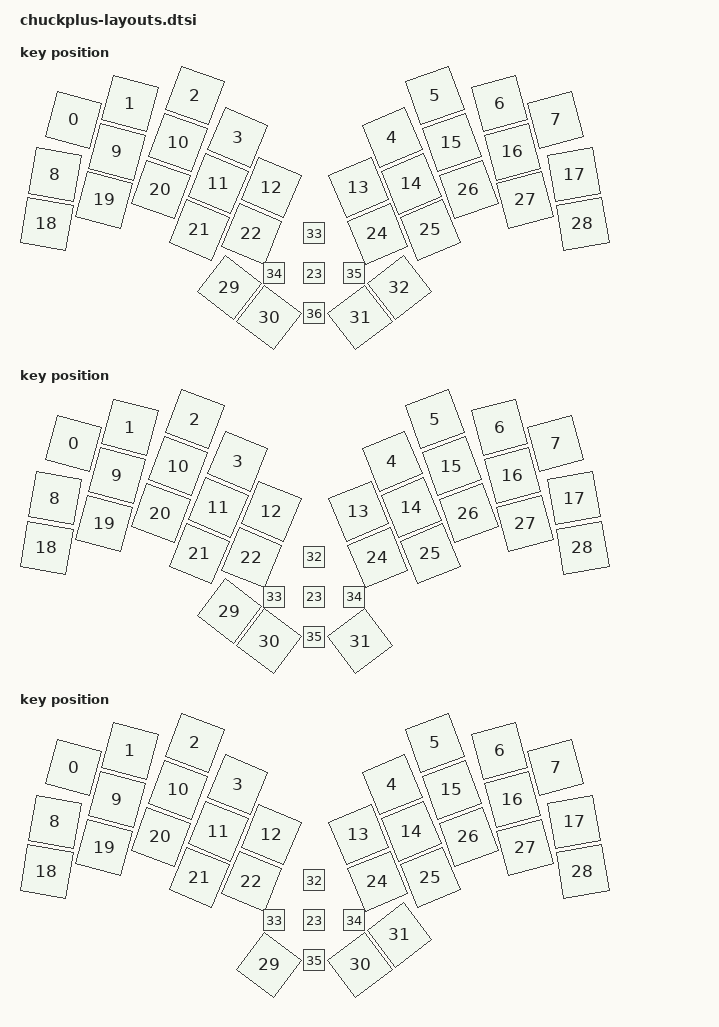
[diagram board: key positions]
#include <physical_layouts.dtsi>

/ {
    chuckplus_layout22: chuckplus_layout_22 {
        compatible = "zmk,physical-layout";
        display-name = "Chuck Plus";

        transform = <&chuckplus_transform_22>;

        keys  //                     w   h    x    y     rot    rx    ry
            = <&key_physical_attrs 100 100   54   49    1500   104    99> // Q
            , <&key_physical_attrs 100 100  167   16    1500   217    66> // W
            , <&key_physical_attrs 100 100  297    0    2000   347    50> // F
            , <&key_physical_attrs 100 100  382   84    2250   432   134> // P
            , <&key_physical_attrs 100 100  691   84 (-2250)   741   134> // L
            , <&key_physical_attrs 100 100  776    0 (-2000)   826    50> // U
            , <&key_physical_attrs 100 100  906   16 (-1500)   956    66> // Y
            , <&key_physical_attrs 100 100 1018   49 (-1500)  1068    99> // '
            , <&key_physical_attrs 100 100   17  158    1000    67   208> // A
            , <&key_physical_attrs 100 100  141  113    1500   191   163> // R
            , <&key_physical_attrs 100 100  263   94    2000   313   144> // S
            , <&key_physical_attrs 100 100  343  177    2250   394   227> // T
            , <&key_physical_attrs 100 100  449  184    2250   499   234> // G
            , <&key_physical_attrs 100 100  624  184 (-2250)   674   234> // M
            , <&key_physical_attrs 100 100  729  177 (-2250)   779   227> // N
            , <&key_physical_attrs 100 100  810   94 (-2000)   860   144> // E
            , <&key_physical_attrs 100 100  932  113 (-1500)   982   163> // I
            , <&key_physical_attrs 100 100 1055  158 (-1000)  1105   208> // O
            , <&key_physical_attrs 100 100    0  257    1000    50   307> // Z
            , <&key_physical_attrs 100 100  115  209    1500   165   259> // X
            , <&key_physical_attrs 100 100  228  188    2000   278   238> // C
            , <&key_physical_attrs 100 100  305  269    2250   355   319> // D
            , <&key_physical_attrs 100 100  410  277    2250   460   327> // V
            , <&key_physical_attrs  50  50  560  380       0     0     0> // push
            , <&key_physical_attrs 100 100  662  277 (-2250)   712   327> // K
            , <&key_physical_attrs 100 100  767  269 (-2250)   817   319> // H
            , <&key_physical_attrs 100 100  844  188 (-2000)   894   238> // ,
            , <&key_physical_attrs 100 100  957  209 (-1500)  1007   259> // .
            , <&key_physical_attrs 100 100 1072  257 (-1000)  1122   307> // /
            , <&key_physical_attrs 100 100  366  384    3750   416   434> // -
            , <&key_physical_attrs 100 100  445  444    3750   495   494> // shift
            , <&key_physical_attrs 100 100  627  444 (-3750)   677   494> // space
            , <&key_physical_attrs 100 100  706  384 (-3750)   756   434> // *
            , <&key_physical_attrs  50  50  560  300       0     0     0> // up
            , <&key_physical_attrs  50  50  480  380       0     0     0> // left
            , <&key_physical_attrs  50  50  640  380       0     0     0> // right
            , <&key_physical_attrs  50  50  560  460       0     0     0> // down
            ;
    };

    chuckplus_layout21: chuckplus_layout_21 {
        compatible = "zmk,physical-layout";
        display-name = "21 Chuck Street";

        transform = <&chuckplus_transform_21>;

        keys  //                     w   h    x    y     rot    rx    ry
            = <&key_physical_attrs 100 100   54   49    1500   104    99> // Q
            , <&key_physical_attrs 100 100  167   16    1500   217    66> // W
            , <&key_physical_attrs 100 100  297    0    2000   347    50> // F
            , <&key_physical_attrs 100 100  382   84    2250   432   134> // P
            , <&key_physical_attrs 100 100  691   84 (-2250)   741   134> // L
            , <&key_physical_attrs 100 100  776    0 (-2000)   826    50> // U
            , <&key_physical_attrs 100 100  906   16 (-1500)   956    66> // Y
            , <&key_physical_attrs 100 100 1018   49 (-1500)  1068    99> // '
            , <&key_physical_attrs 100 100   17  158    1000    67   208> // A
            , <&key_physical_attrs 100 100  141  113    1500   191   163> // R
            , <&key_physical_attrs 100 100  263   94    2000   313   144> // S
            , <&key_physical_attrs 100 100  343  177    2250   394   227> // T
            , <&key_physical_attrs 100 100  449  184    2250   499   234> // G
            , <&key_physical_attrs 100 100  624  184 (-2250)   674   234> // M
            , <&key_physical_attrs 100 100  729  177 (-2250)   779   227> // N
            , <&key_physical_attrs 100 100  810   94 (-2000)   860   144> // E
            , <&key_physical_attrs 100 100  932  113 (-1500)   982   163> // I
            , <&key_physical_attrs 100 100 1055  158 (-1000)  1105   208> // O
            , <&key_physical_attrs 100 100    0  257    1000    50   307> // Z
            , <&key_physical_attrs 100 100  115  209    1500   165   259> // X
            , <&key_physical_attrs 100 100  228  188    2000   278   238> // C
            , <&key_physical_attrs 100 100  305  269    2250   355   319> // D
            , <&key_physical_attrs 100 100  410  277    2250   460   327> // V
            , <&key_physical_attrs  50  50  560  380       0     0     0> // push
            , <&key_physical_attrs 100 100  662  277 (-2250)   712   327> // K
            , <&key_physical_attrs 100 100  767  269 (-2250)   817   319> // H
            , <&key_physical_attrs 100 100  844  188 (-2000)   894   238> // ,
            , <&key_physical_attrs 100 100  957  209 (-1500)  1007   259> // .
            , <&key_physical_attrs 100 100 1072  257 (-1000)  1122   307> // /
            , <&key_physical_attrs 100 100  366  384    3750   416   434> // -
            , <&key_physical_attrs 100 100  445  444    3750   495   494> // shift
            , <&key_physical_attrs 100 100  627  444 (-3750)   677   494> // space
            , <&key_physical_attrs  50  50  560  300       0     0     0> // up
            , <&key_physical_attrs  50  50  480  380       0     0     0> // left
            , <&key_physical_attrs  50  50  640  380       0     0     0> // right
            , <&key_physical_attrs  50  50  560  460       0     0     0> // down
            ;
    };

    chuckplus_layout12: chuckplus_layout_12 {
        compatible = "zmk,physical-layout";
        display-name = "Chucker by the Dozen";

        transform = <&chuckplus_transform_12>;

        keys  //                     w   h    x    y     rot    rx    ry
            = <&key_physical_attrs 100 100   54   49    1500   104    99> // Q
            , <&key_physical_attrs 100 100  167   16    1500   217    66> // W
            , <&key_physical_attrs 100 100  297    0    2000   347    50> // F
            , <&key_physical_attrs 100 100  382   84    2250   432   134> // P
            , <&key_physical_attrs 100 100  691   84 (-2250)   741   134> // L
            , <&key_physical_attrs 100 100  776    0 (-2000)   826    50> // U
            , <&key_physical_attrs 100 100  906   16 (-1500)   956    66> // Y
            , <&key_physical_attrs 100 100 1018   49 (-1500)  1068    99> // '
            , <&key_physical_attrs 100 100   17  158    1000    67   208> // A
            , <&key_physical_attrs 100 100  141  113    1500   191   163> // R
            , <&key_physical_attrs 100 100  263   94    2000   313   144> // S
            , <&key_physical_attrs 100 100  343  177    2250   394   227> // T
            , <&key_physical_attrs 100 100  449  184    2250   499   234> // G
            , <&key_physical_attrs 100 100  624  184 (-2250)   674   234> // M
            , <&key_physical_attrs 100 100  729  177 (-2250)   779   227> // N
            , <&key_physical_attrs 100 100  810   94 (-2000)   860   144> // E
            , <&key_physical_attrs 100 100  932  113 (-1500)   982   163> // I
            , <&key_physical_attrs 100 100 1055  158 (-1000)  1105   208> // O
            , <&key_physical_attrs 100 100    0  257    1000    50   307> // Z
            , <&key_physical_attrs 100 100  115  209    1500   165   259> // X
            , <&key_physical_attrs 100 100  228  188    2000   278   238> // C
            , <&key_physical_attrs 100 100  305  269    2250   355   319> // D
            , <&key_physical_attrs 100 100  410  277    2250   460   327> // V
            , <&key_physical_attrs  50  50  560  380       0     0     0> // push
            , <&key_physical_attrs 100 100  662  277 (-2250)   712   327> // K
            , <&key_physical_attrs 100 100  767  269 (-2250)   817   319> // H
            , <&key_physical_attrs 100 100  844  188 (-2000)   894   238> // ,
            , <&key_physical_attrs 100 100  957  209 (-1500)  1007   259> // .
            , <&key_physical_attrs 100 100 1072  257 (-1000)  1122   307> // /
            , <&key_physical_attrs 100 100  445  444    3750   495   494> // shift
            , <&key_physical_attrs 100 100  627  444 (-3750)   677   494> // space
            , <&key_physical_attrs 100 100  706  384 (-3750)   756   434> // *
            , <&key_physical_attrs  50  50  560  300       0     0     0> // up
            , <&key_physical_attrs  50  50  480  380       0     0     0> // left
            , <&key_physical_attrs  50  50  640  380       0     0     0> // right
            , <&key_physical_attrs  50  50  560  460       0     0     0> // down
            ;
    };

    chuckplus_layout11: chuckplus_layout_11 {
        compatible = "zmk,physical-layout";
        display-name = "One Up Chuck";

        transform = <&chuckplus_transform_11>;

        keys  //                     w   h    x    y     rot    rx    ry
            = <&key_physical_attrs 100 100   54   49    1500   104    99> // Q
            , <&key_physical_attrs 100 100  167   16    1500   217    66> // W
            , <&key_physical_attrs 100 100  297    0    2000   347    50> // F
            , <&key_physical_attrs 100 100  382   84    2250   432   134> // P
            , <&key_physical_attrs 100 100  691   84 (-2250)   741   134> // L
            , <&key_physical_attrs 100 100  776    0 (-2000)   826    50> // U
            , <&key_physical_attrs 100 100  906   16 (-1500)   956    66> // Y
            , <&key_physical_attrs 100 100 1018   49 (-1500)  1068    99> // '
            , <&key_physical_attrs 100 100   17  158    1000    67   208> // A
            , <&key_physical_attrs 100 100  141  113    1500   191   163> // R
            , <&key_physical_attrs 100 100  263   94    2000   313   144> // S
            , <&key_physical_attrs 100 100  343  177    2250   394   227> // T
            , <&key_physical_attrs 100 100  449  184    2250   499   234> // G
            , <&key_physical_attrs 100 100  624  184 (-2250)   674   234> // M
            , <&key_physical_attrs 100 100  729  177 (-2250)   779   227> // N
            , <&key_physical_attrs 100 100  810   94 (-2000)   860   144> // E
            , <&key_physical_attrs 100 100  932  113 (-1500)   982   163> // I
            , <&key_physical_attrs 100 100 1055  158 (-1000)  1105   208> // O
            , <&key_physical_attrs 100 100    0  257    1000    50   307> // Z
            , <&key_physical_attrs 100 100  115  209    1500   165   259> // X
            , <&key_physical_attrs 100 100  228  188    2000   278   238> // C
            , <&key_physical_attrs 100 100  305  269    2250   355   319> // D
            , <&key_physical_attrs 100 100  410  277    2250   460   327> // V
            , <&key_physical_attrs  50  50  560  380       0     0     0> // push
            , <&key_physical_attrs 100 100  662  277 (-2250)   712   327> // K
            , <&key_physical_attrs 100 100  767  269 (-2250)   817   319> // H
            , <&key_physical_attrs 100 100  844  188 (-2000)   894   238> // ,
            , <&key_physical_attrs 100 100  957  209 (-1500)  1007   259> // .
            , <&key_physical_attrs 100 100 1072  257 (-1000)  1122   307> // /
            , <&key_physical_attrs 100 100  445  444    3750   495   494> // shift
            , <&key_physical_attrs 100 100  627  444 (-3750)   677   494> // space
            , <&key_physical_attrs  50  50  560  300       0     0     0> // up
            , <&key_physical_attrs  50  50  480  380       0     0     0> // left
            , <&key_physical_attrs  50  50  640  380       0     0     0> // right
            , <&key_physical_attrs  50  50  560  460       0     0     0> // down
            ;
    };

    chuckplus_position_map {
        compatible = "zmk,physical-layout-position-map";
        complete;
        layout22: layout22 {
            physical-layout = <&chuckplus_layout22>;
            positions = < 0  1  2  3               4  5  6  7>
                      , < 8  9 10 11 12        13 14 15 16 17>
                      , <18 19 20 21 22   23   24 25 26 27 28>
                      ,             <29 30  31 32>
                      ,             <33 34  35 36>;
        };
        layout21: layout21 {
            physical-layout = <&chuckplus_layout21>;
            positions = < 0  1  2  3               4  5  6  7>
                      , < 8  9 10 11 12        13 14 15 16 17>
                      , <18 19 20 21 22   23   24 25 26 27 28>
                      ,             <29 30  31 36>
                      ,             <32 33  34 35>;
        };
        layout12: layout12 {
            physical-layout = <&chuckplus_layout12>;
            positions = < 0  1  2  3               4  5  6  7>
                      , < 8  9 10 11 12        13 14 15 16 17>
                      , <18 19 20 21 22   23   24 25 26 27 28>
                      ,             <36 29  30 31>
                      ,             <32 33  34 35>;
        };
        layout11: layout11 {
            physical-layout = <&chuckplus_layout11>;
            positions = < 0  1  2  3               4  5  6  7>
                      , < 8  9 10 11 12        13 14 15 16 17>
                      , <18 19 20 21 22   23   24 25 26 27 28>
                      ,             <35 29  30 36>
                      ,             <31 32  33 34>;
        };
    };
};

// vim: expandtab softtabstop=4 shiftwidth=4
